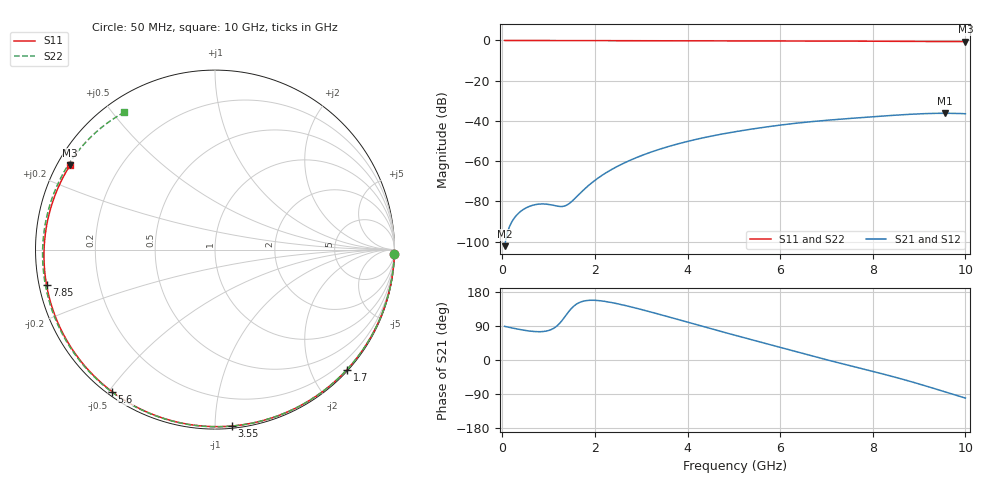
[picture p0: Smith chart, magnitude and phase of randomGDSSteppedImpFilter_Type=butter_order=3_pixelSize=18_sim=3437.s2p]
! freq	dB(S11)	phase(S11)	dB(S12)	phase(S12)
!  dB(S21)	phase(S21)	dB(S22)	phase(S22)
!S-par simulation data
#  GHz  S  DB  R 50
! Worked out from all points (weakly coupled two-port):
!   200 points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, 50 MHz to 10 GHz, reference 50 ohm
!   highest |S21| = -36.21 dB at 9.55 GHz (marker M1); lowest = -102.3 dB at 50 MHz (marker M2)
!   lowest |S11| = -0.6 dB at 10 GHz (marker M3), VSWR 29.43, Z = 1.82 + j13.5 ohm
!   |S11| at or under -10 dB: nowhere
!   |S22| runs from -0.8 to 0.0 dB; largest |S21 - S12| = 0
!   S11 on the Smith chart (normalised r, x): 50 MHz: 0, -89; 1.7 GHz: 0.02, -2.58; 3.55 GHz: 0.01, -1.10; 5.6 GHz: 0.01, -0.51; 7.85 GHz: 0.02, -0.10; 10 GHz: 0.04, +0.27
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0.05  -0.00 -1.3  -102.29 88.8  -102.29 88.8  -0.00 -1.5
0.4  -0.01 -10.1  -84.94 80.0  -84.94 80.0  -0.02 -11.5
0.75  -0.02 -18.9  -81.49 74.7  -81.49 74.7  -0.03 -21.5
1.5  -0.05 -37.5  -80.07 137.0  -80.07 137.0  -0.05 -42.5
1.7  -0.05 -42.3  -75.55 153.4  -75.55 153.4  -0.06 -48.0
1.75  -0.05 -43.5  -74.45 155.2  -74.45 155.2  -0.06 -49.3
2.05  -0.06 -50.6  -68.72 157.1  -68.72 157.1  -0.07 -57.3
2.45  -0.08 -60.0  -63.03 149.4  -63.03 149.4  -0.08 -67.8
2.9  -0.09 -70.2  -58.22 136.5  -58.22 136.5  -0.10 -79.2
3.4  -0.10 -81.2  -54.07 120.3  -54.07 120.3  -0.12 -91.3
3.55  -0.11 -84.5  -53.00 115.2  -53.00 115.2  -0.12 -94.9
4.25  -0.13 -99.1  -48.85 91.3  -48.85 91.3  -0.15 -111.1
5.05  -0.17 -115.2  -45.30 64.5  -45.30 64.5  -0.19 -128.7
5.6  -0.20 -125.9  -43.34 46.4  -43.34 46.4  -0.22 -140.5
6.15  -0.23 -136.3  -41.67 28.4  -41.67 28.4  -0.25 -152.0
6.7  -0.27 -146.6  -40.32 10.3  -40.32 10.3  -0.29 -163.5
7.3  -0.32 -157.8  -39.14 -8.6  -39.14 -8.6  -0.34 -176.0
7.85  -0.36 -168.1  -38.19 -25.4  -38.19 -25.4  -0.38 172.4
8.35  -0.41 -177.5  -37.37 -41.1  -37.37 -41.1  -0.43 161.6
8.95  -0.47 171.0  -36.55 -61.5  -36.55 -61.5  -0.51 148.2
9.55  -0.54 159.0  -36.21 -83.7  -36.21 -83.7  -0.63 134.3
10  -0.59 149.8  -36.43 -100.5  -36.43 -100.5  -0.75 123.4
